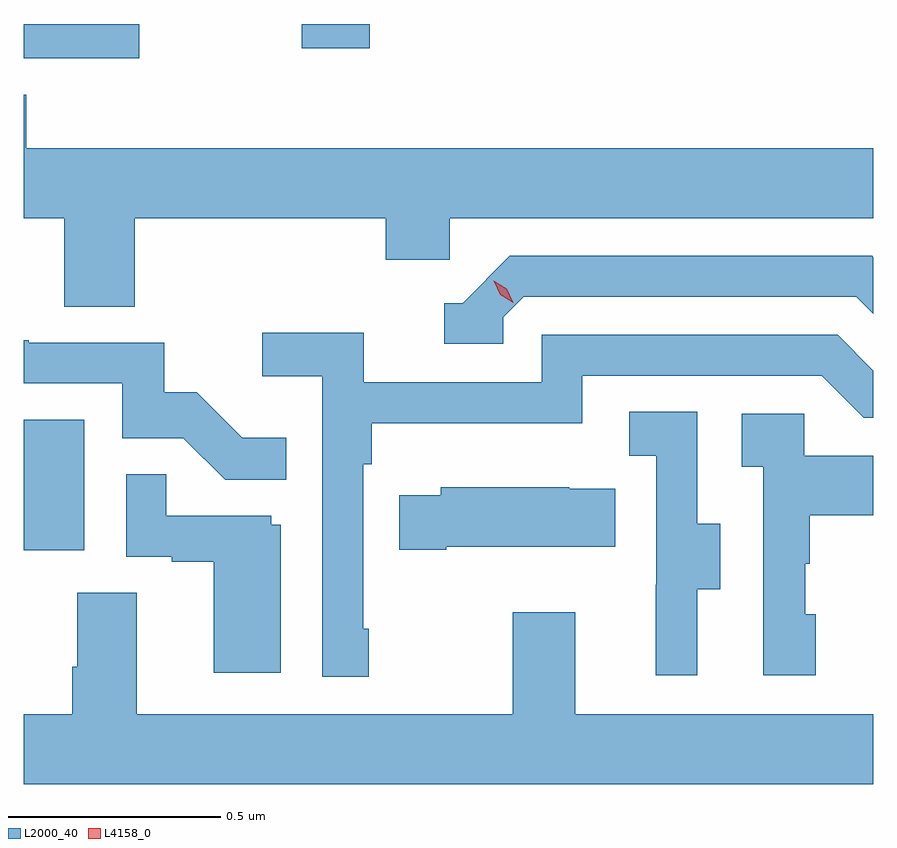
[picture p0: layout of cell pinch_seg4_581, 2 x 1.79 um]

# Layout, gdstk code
import gdstk
lib = gdstk.Library(unit=1e-6, precision=1e-09)
def R(c, l, rs):  # rectangles x0, y0, x1, y1
    for r in rs: c.add(gdstk.rectangle(r[:2], r[2:], *l))
def P(c, l, *ps):  # polygons
    for p in ps: c.add(gdstk.Polygon(p, *l))
L2000_40 = (2000, 40)
L4158_0 = (4158, 0)

pinch_seg4_581 = lib.new_cell('pinch_seg4_581')
R(pinch_seg4_581, L2000_40, [(1090.415,774.726,1090.558,775.033), (1090.415,775.884,1090.687,775.965), (1091.069,775.908,1091.23,775.965)])
P(pinch_seg4_581, L2000_40, [(1090.676,775.508),(1091.267,775.508),(1091.267,775.41),(1091.418,775.41),(1091.418,775.508),(1092.415,775.508),(1092.415,775.672),(1090.421,775.672),(1090.421,775.799),(1090.415,775.799),(1090.415,775.508),(1090.511,775.508),(1090.511,775.3),(1090.676,775.3)],
  [(1091.544,775.275),(1091.592,775.323),(1092.375,775.323),(1092.415,775.283),(1092.415,775.416),(1092.412,775.419),(1091.559,775.419),(1091.448,775.308),(1091.405,775.308),(1091.405,775.212),(1091.544,775.212)],
  [(1091.227,774.541),(1091.214,774.541),(1091.214,774.929),(1091.234,774.929),(1091.234,775.025),(1091.73,775.025),(1091.73,775.137),(1092.294,775.137),(1092.393,775.038),(1092.415,775.038),(1092.415,775.149),(1092.331,775.233),(1091.634,775.233),(1091.634,775.122),(1091.216,775.122),(1091.216,775.238),(1090.977,775.238),(1090.977,775.136),(1091.118,775.136),(1091.118,774.429),(1091.227,774.429)],
  [(1091.033,774.991),(1090.929,774.991),(1090.822,775.098),(1090.746,775.098),(1090.746,775.215),(1090.427,775.215),(1090.427,775.22),(1090.415,775.22),(1090.415,775.119),(1090.647,775.119),(1090.647,774.99),(1090.791,774.99),(1090.889,774.892),(1091.033,774.892)],
  [(1092.001,774.634),(1092.055,774.634),(1092.055,774.789),(1092,774.789),(1092,775.052),(1091.841,775.052),(1091.841,774.949),(1091.904,774.949),(1091.904,774.645),(1091.903,774.645),(1091.903,774.432),(1092.001,774.432)],
  [(1092.28,774.576),(1092.255,774.576),(1092.255,774.695),(1092.265,774.695),(1092.265,774.809),(1092.415,774.809),(1092.415,774.949),(1092.252,774.949),(1092.252,775.047),(1092.105,775.047),(1092.105,774.923),(1092.156,774.923),(1092.156,774.432),(1092.28,774.432)],
  [(1091.02,774.786),(1090.998,774.786),(1090.998,774.807),(1090.751,774.807),(1090.751,774.905),(1090.656,774.905),(1090.656,774.711),(1090.763,774.711),(1090.763,774.699),(1090.862,774.699),(1090.862,774.438),(1091.02,774.438)],
  [(1091.41,774.734),(1091.807,774.734),(1091.807,774.871),(1091.699,774.871),(1091.699,774.874),(1091.397,774.874),(1091.397,774.856),(1091.299,774.856),(1091.299,774.727),(1091.41,774.727)],
  [(1092.415,774.34),(1091.713,774.34),(1091.713,774.58),(1091.566,774.58),(1091.566,774.34),(1090.681,774.34),(1090.681,774.626),(1090.541,774.626),(1090.541,774.452),(1090.529,774.452),(1090.529,774.34),(1090.415,774.34),(1090.415,774.176),(1092.415,774.176)])
P(pinch_seg4_581, L4158_0, [(1091.568,775.309),(1091.537,775.328),(1091.521,775.361),(1091.521,775.361),(1091.521,775.361),(1091.552,775.342),(1091.568,775.309),(1091.568,775.309)])

lib.write_gds('pinch_seg4_581.gds')
